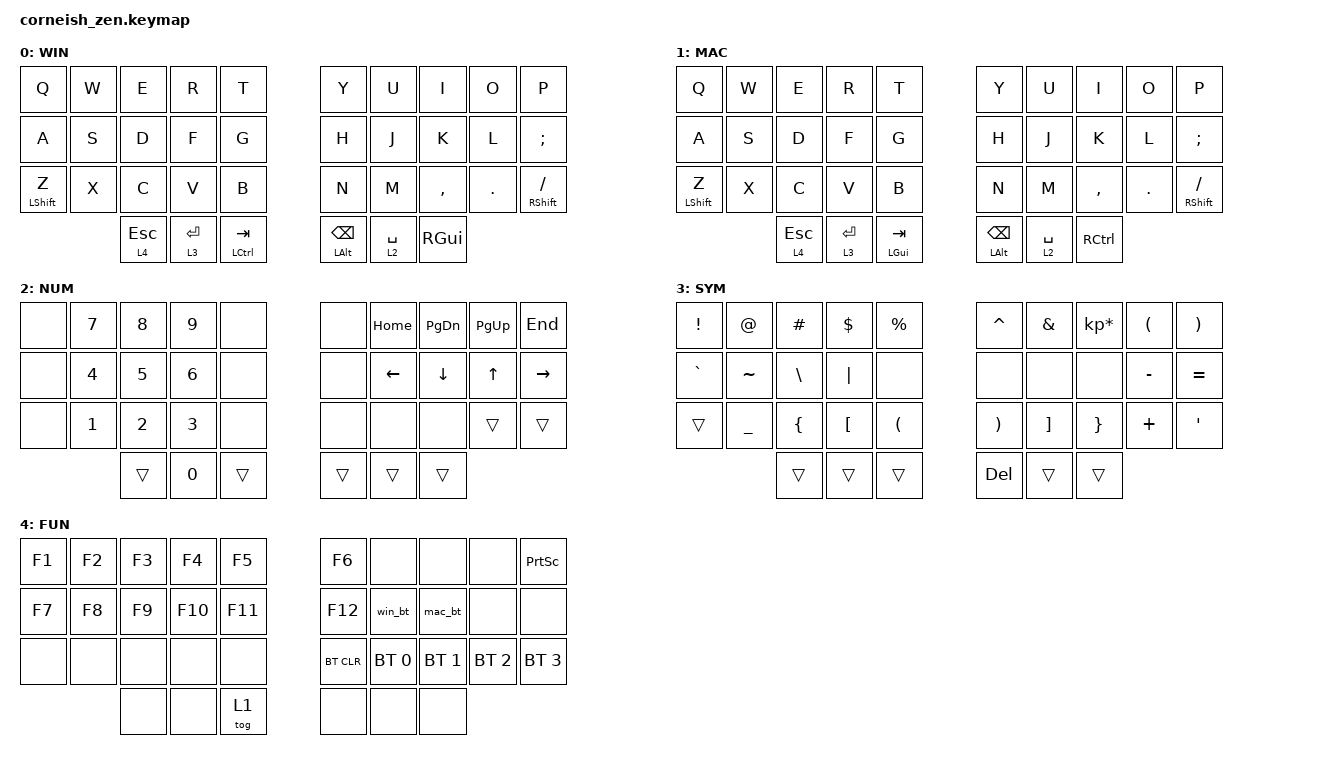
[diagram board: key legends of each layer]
#include <behaviors.dtsi>
#include <dt-bindings/zmk/keys.h>
#include <dt-bindings/zmk/bt.h>

/ {
  chosen {
    //zmk,matrix_transform = &default_transform;
    zmk,matrix_transform = &five_column_transform;
  };  

  macros {
    win_bt: win_bt {
      label = "win_bt";
      compatible = "zmk,behavior-macro";
      #binding-cells = <0>;
      bindings
        = <&macro_tap &bt BT_SEL 0>
        , <&macro_tap &to 0>
      ;
    };
    
    mac_bt: mac_bt {
      label = "mac_bt";
      compatible = "zmk,behavior-macro";
      #binding-cells = <0>;
      bindings
        = <&macro_tap &bt BT_SEL 1>
        , <&macro_tap &tog 1>
      ;
    };
  };
};

&mt {
  flavor = "tap-preferred";
  //tapping_term_ms = <200>;
};


/ {
        keymap {
                compatible = "zmk,keymap";

                default_layer {
                        label = "WIN";
// -----------------------------------------------------------------------------------------
// |  TAB |  Q  |  W  |  E  |  R  |  T  |   |  Y  |  U   |  I  |  O  |  P  | BKSP |
// | CTRL |  A  |  S  |  D  |  F  |  G  |   |  H  |  J   |  K  |  L  |  ;  |  '   |
// | SHFT |  Z  |  X  |  C  |  V  |  B  |   |  N  |  M   |  ,  |  .  |  /  | ESC  |
//                    | GUI | NUMBER ENTER | SPC |   | ENT | RSE  | ALT |
                        bindings = <
     &kp Q &kp W &kp E &kp R &kp T   &kp Y &kp U  &kp I     &kp O   &kp P     
     &kp A &kp S &kp D &kp F &kp G   &kp H &kp J  &kp K     &kp L   &kp SEMI  
     &mt LSHFT Z &kp X &kp C &kp V &kp B   &kp N &kp M  &kp COMMA &kp DOT &mt RSHFT FSLH  
             &lt 4 ESC &lt 3 RET &mt LCTRL TAB   &mt LALT BACKSPACE &lt 2 SPACE &kp RGUI
                        >;
                };

                mac_layer {
                        label = "MAC";
// -----------------------------------------------------------------------------------------
// |  TAB |  Q  |  W  |  E  |  R  |  T  |   |  Y  |  U   |  I  |  O  |  P  | BKSP |
// | CTRL |  A  |  S  |  D  |  F  |  G  |   |  H  |  J   |  K  |  L  |  ;  |  '   |
// | SHFT |  Z  |  X  |  C  |  V  |  B  |   |  N  |  M   |  ,  |  .  |  /  | ESC  |
//                    | GUI | NUMBER ENTER | SPC |   | ENT | RSE  | ALT |
                        bindings = <
     &kp Q &kp W &kp E &kp R &kp T   &kp Y &kp U  &kp I     &kp O   &kp P     
     &kp A &kp S &kp D &kp F &kp G   &kp H &kp J  &kp K     &kp L   &kp SEMI  
     &mt LSHFT Z &kp X &kp C &kp V &kp B   &kp N &kp M  &kp COMMA &kp DOT &mt RSHFT FSLH  
             &lt 4 ESC &lt 3 RET &mt LGUI TAB   &mt LALT BACKSPACE &lt 2 SPACE &kp RCTRL
                        >;
                };

                lower_layer {
                        label = "NUM";
// -----------------------------------------------------------------------------------------
// |  TAB |  1  |  2  |  3  |  4  |  5  |   |  6  |  7  |  8  |  9  |  0  | BKSP |
// | BTCLR| BT1 | BT2 | BT3 | BT4 | BT5 |   | LFT | DWN |  UP | RGT |     |      |
// | SHFT |     |     |     |     |     |   |     |     |     |     |     |      |
//                    | GUI |     | SPC |   | ENT |     | ALT |
                        bindings = <
     &none       &kp N7       &kp N8       &kp N9       &none         &none   &kp HOME   &kp PG_DN &kp PG_UP    &kp END  
     &none       &kp N4       &kp N5       &kp N6       &none         &none    &kp LEFT &kp DOWN &kp UP &kp RIGHT  
     &none       &kp N1       &kp N2       &kp N3       &none         &none   &none  &none   &trans &trans
                     	        &trans     &kp N0       &trans      &trans  &trans   &trans
                        >;
                };

                raise_layer {
                        label = "SYM";
// -----------------------------------------------------------------------------------------
// |  TAB |  !  |  @  |  #  |  $  |  %  |   |  ^  |  &  |  *  |  (  |  )  | BKSP |
// | CTRL |     |     |     |     |     |   |  -  |  =  |  [  |  ]  |  \  |  `   |
// | SHFT |     |     |     |     |     |   |  _  |  +  |  {  |  }  | "|" |  ~   |
//                    | GUI |     | SPC |   | ENT |     | ALT |
                        bindings = <
    &kp EXCL &kp AT &kp HASH   &kp DLLR   &kp PRCNT   &kp CARET &kp AMPS  &kp KP_MULTIPLY &kp LPAR   &kp RPAR  
    &kp GRAVE   &kp TILDE &kp BSLH   &kp PIPE   &none       &none     &none     &none   &kp MINUS  &kp EQUAL  
    &trans    &kp UNDER &kp LBRC   &kp LBKT   &kp LPAR  &kp RPAR &kp RBKT  &kp RBRC   &kp PLUS   &kp SQT  
             	     &trans &trans   &trans   &kp DEL   &trans    &trans
                        >;
                };
                
                 fun_layer {
                        label = "FUN";

                        bindings = <
    &kp F1    &kp F2 &kp F3   &kp F4   &kp F5  &kp F6 &none  &none   &none         &kp PSCRN  
    &kp F7    &kp F8 &kp F9   &kp F10   &kp F11  &kp F12 &win_bt  &mac_bt   &none         &none  
    &none    &none &none   &none   &none  &bt BT_CLR    &bt BT_SEL 0 &bt BT_SEL 1 &bt BT_SEL 2 &bt BT_SEL 3  
             	     &none &none   &tog 1   &none   &none    &none
                        >;
                };
        };
};
